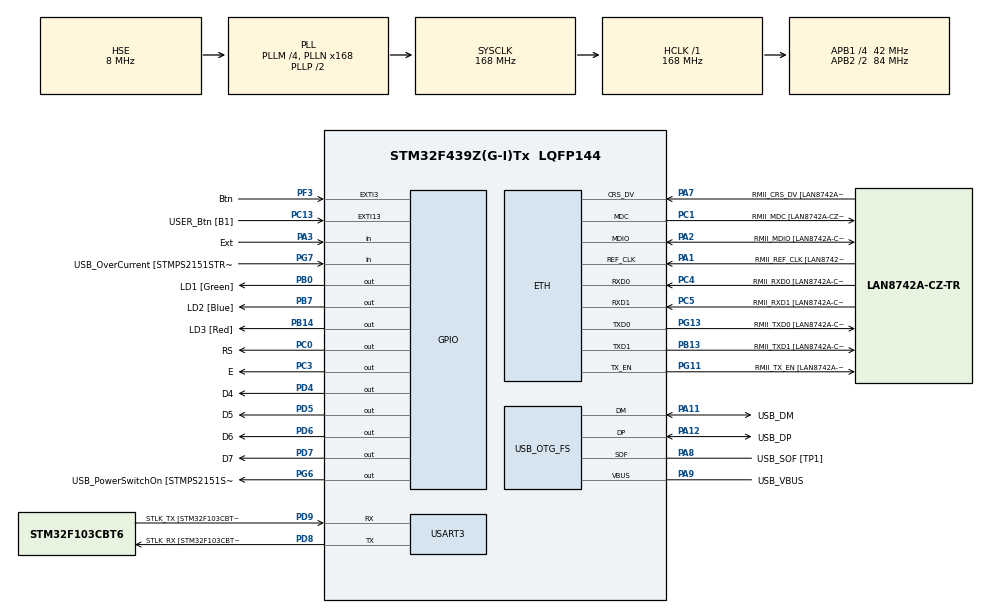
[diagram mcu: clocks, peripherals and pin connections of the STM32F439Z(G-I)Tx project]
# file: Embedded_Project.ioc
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ETH.MediaInterface=HAL_ETH_RMII_MODE
ETH.PHY_Name=LAN8742A_PHY_ADDRESS
ETH.PHY_Value=0
ETH.PhyAddress=0
Mcu.Family=STM32F4
Mcu.Name=STM32F439Z(G-I)Tx
Mcu.Package=LQFP144
NVIC.EXTI15_10_IRQn=true\:0\:0\:false\:false\:true\:true\:true\:true
NVIC.EXTI3_IRQn=true\:0\:0\:false\:false\:true\:true\:true\:true
NVIC.PriorityGroup=NVIC_PRIORITYGROUP_4
PA1.GPIO_Label=RMII_REF_CLK [LAN8742A-CZ-TR_REFCLK0]
PA1.Mode=RMII
PA1.Signal=ETH_REF_CLK
PA10.GPIO_Label=USB_ID
PA10.Signal=USB_OTG_FS_ID
PA11.GPIO_Label=USB_DM
PA11.Mode=Device_Only
PA11.Signal=USB_OTG_FS_DM
PA12.GPIO_Label=USB_DP
PA12.Mode=Device_Only
PA12.Signal=USB_OTG_FS_DP
PA13.GPIO_Label=TMS
PA13.Mode=Serial_Wire
PA13.Signal=SYS_JTMS-SWDIO
PA14.GPIO_Label=TCK
PA14.Mode=Serial_Wire
PA14.Signal=SYS_JTCK-SWCLK
PA2.GPIO_Label=RMII_MDIO [LAN8742A-CZ-TR_MDIO]
PA2.Mode=RMII
PA2.Signal=ETH_MDIO
PA3.GPIO_Label=Ext
PA3.Signal=GPIO_Input
PA7.GPIO_Label=RMII_CRS_DV [LAN8742A-CZ-TR_CRS_DV]
PA7.Mode=RMII
PA7.Signal=ETH_CRS_DV
PA8.GPIO_Label=USB_SOF [TP1]
PA8.Mode=Activate_SOF_FS
PA8.Signal=USB_OTG_FS_SOF
PA9.GPIO_Label=USB_VBUS
PA9.Mode=Activate_VBUS
PA9.Signal=USB_OTG_FS_VBUS
PB0.GPIO_Label=LD1 [Green]
PB0.Signal=GPIO_Output
PB13.GPIO_Label=RMII_TXD1 [LAN8742A-CZ-TR_TXD1]
PB13.Mode=RMII
PB13.Signal=ETH_TXD1
PB14.GPIO_Label=LD3 [Red]
PB14.Signal=GPIO_Output
PB7.GPIO_Label=LD2 [Blue]
PB7.Signal=GPIO_Output
PC0.GPIO_Label=RS
PC0.Signal=GPIO_Output
PC1.GPIO_Label=RMII_MDC [LAN8742A-CZ-TR_MDC]
PC1.Mode=RMII
PC1.Signal=ETH_MDC
PC13.GPIO_Label=USER_Btn [B1]
PC13.GPIO_ModeDefaultEXTI=GPIO_MODE_IT_RISING_FALLING
PC13.Signal=GPXTI13
PC14/OSC32_IN.Mode=LSE-External-Oscillator
PC14/OSC32_IN.Signal=RCC_OSC32_IN
PC15/OSC32_OUT.Mode=LSE-External-Oscillator
PC15/OSC32_OUT.Signal=RCC_OSC32_OUT
PC3.GPIO_Label=E
PC3.Signal=GPIO_Output
PC4.GPIO_Label=RMII_RXD0 [LAN8742A-CZ-TR_RXD0]
PC4.Mode=RMII
PC4.Signal=ETH_RXD0
PC5.GPIO_Label=RMII_RXD1 [LAN8742A-CZ-TR_RXD1]
PC5.Mode=RMII
PC5.Signal=ETH_RXD1
PD4.GPIO_Label=D4
PD4.Signal=GPIO_Output
PD5.GPIO_Label=D5
PD5.Signal=GPIO_Output
PD6.GPIO_Label=D6
PD6.Signal=GPIO_Output
PD7.GPIO_Label=D7
PD7.Signal=GPIO_Output
PD8.GPIO_Label=STLK_RX [STM32F103CBT6_PA3]
PD8.Mode=Asynchronous
PD8.Signal=USART3_TX
PD9.GPIO_Label=STLK_TX [STM32F103CBT6_PA2]
PD9.Mode=Asynchronous
PD9.Signal=USART3_RX
PF3.GPIO_Label=Btn
PF3.GPIO_ModeDefaultEXTI=GPIO_MODE_IT_RISING_FALLING
PF3.Signal=GPXTI3
PG11.GPIO_Label=RMII_TX_EN [LAN8742A-CZ-TR_TXEN]
PG11.Mode=RMII
PG11.Signal=ETH_TX_EN
PG13.GPIO_Label=RMII_TXD0 [LAN8742A-CZ-TR_TXD0]
PG13.Mode=RMII
PG13.Signal=ETH_TXD0
PG6.GPIO_Label=USB_PowerSwitchOn [STMPS2151STR_EN]
PG6.Signal=GPIO_Output
PG7.GPIO_Label=USB_OverCurrent [STMPS2151STR_FAULT]
PG7.Signal=GPIO_Input
PH0/OSC_IN.GPIO_Label=MCO [STM32F103CBT6_PA8]
PH0/OSC_IN.Mode=HSE-External-Clock-Source
PH0/OSC_IN.Signal=RCC_OSC_IN
PH1/OSC_OUT.Mode=HSE-External-Clock-Source
PH1/OSC_OUT.Signal=RCC_OSC_OUT
ProjectManager.HeapSize=0x200
ProjectManager.StackSize=0x400
ProjectManager.TargetToolchain=STM32CubeIDE
RCC.48MHZClocksFreq_Value=48000000
RCC.AHBFreq_Value=168000000
RCC.APB1CLKDivider=RCC_HCLK_DIV4
RCC.APB1Freq_Value=42000000
RCC.APB1TimFreq_Value=84000000
RCC.APB2CLKDivider=RCC_HCLK_DIV2
RCC.APB2Freq_Value=84000000
RCC.APB2TimCLKDivider=2
RCC.APB2TimFreq_Value=168000000
RCC.CortexFreq_Value=168000000
RCC.HCLKFreq_Value=168000000
RCC.HSE_VALUE=8000000
RCC.HSI_VALUE=16000000
RCC.PLLM=4
RCC.PLLMUL=RCC_PLL_MUL9
RCC.PLLN=168
RCC.PLLQ=7
RCC.PRESCALERUSB=RCC_USBCLKSOURCE_PLL_DIV1_5
RCC.SYSCLKFreq_VALUE=168000000
RCC.SYSCLKSource=RCC_SYSCLKSOURCE_PLLCLK
RCC.SYSCLKSourceVirtual=RCC_SYSCLKSOURCE_PLLCLK
RCC.USBFreq_Value=48000000
RCC.VCOOutputFreq_Value=336000000
USART3.VirtualMode=VM_ASYNC
USB_OTG_FS.VirtualMode=Device_Only
board=NUCLEO-F439ZI

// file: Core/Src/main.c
/* USER CODE BEGIN Header */
/**
  ******************************************************************************
  * @file           : main.c
  * @brief          : Main program body
  ******************************************************************************
  * @attention
  *
  * Copyright (c) 2024 STMicroelectronics.
  * All rights reserved.
  *
  * This software is licensed under terms that can be found in the LICENSE file
  * in the root directory of this software component.
  * If no LICENSE file comes with this software, it is provided AS-IS.
  *
  ******************************************************************************
  */
/* USER CODE END Header */
#include "main.h"
#include "string.h"

/* USER CODE BEGIN Includes */
#include "lcd16x2.h"
/* USER CODE END Includes */

ETH_TxPacketConfig TxConfig;
ETH_DMADescTypeDef  DMARxDscrTab[ETH_RX_DESC_CNT]; /* Ethernet Rx DMA Descriptors */
ETH_DMADescTypeDef  DMATxDscrTab[ETH_TX_DESC_CNT]; /* Ethernet Tx DMA Descriptors */

ETH_HandleTypeDef heth;

UART_HandleTypeDef huart3;

PCD_HandleTypeDef hpcd_USB_OTG_FS;

void SystemClock_Config(void);
static void MX_GPIO_Init(void);
static void MX_ETH_Init(void);
static void MX_USART3_UART_Init(void);
static void MX_USB_OTG_FS_PCD_Init(void);
/* USER CODE BEGIN PFP */
int password[4] = {1,1,0,0};
int j = 0;
int state = 0;
int reset_pass = 0;
//int user_inp = 0;
//int user_password[8]={};
//int j=0;
char user_pass_str[1024]= "Password:";
char user_pass_str1[1024]= "New_Pass:";
int cur_time = 0;
int start_time=0;
//int cur_time1=0;
//int start_time1=0;
/* USER CODE END PFP */

/* USER CODE BEGIN 0 */
void HAL_GPIO_EXTI_Callback(uint16_t GPIO_Pin)
{
  /* Prevent unused argument(s) compilation warning */

  /* NOTE: This function Should not be modified, when the callback is needed,
           the HAL_GPIO_EXTI_Callback could be implemented in the user file
   */
//
//	if(GPIO_Pin==USER_Btn_Pin){
//		cur_time = HAL_GetTick();
//		int User_state = HAL_GPIO_ReadPin(USER_Btn_GPIO_Port,USER_Btn_Pin);
//		if(User_state==0){
//			if(cur_time-start_time >= 3000){
//					i=0;
//			}
//		    else if(cur_time-start_time >= 100){
//				if(password[j]==1){
//					j++;
//					user_pass_str=user_pass_str+'1';
//
//				}
//				else{
//					j=0;
//					user_pass_str="";
//				}
//
//			}
//		}
//		else {
//			start_time = cur_time;
//		}
//	}
//	else{
//		cur_time1 = HAL_GetTick();
//		int next_btn = HAL_GPIO_ReadPin(Btn_GPIO_Port, Btn_Pin);
//		if(next_btn==0) {
//			if(cur_time1-start_time1 >= 3000){
//
//			}
//			else if(cur_time1-start_time1 >= 100){
//				user_inp=0;
//			}
//		 }
//		else{
//			start_time1 = cur_time1;
//		}
//	}
//	return;

	cur_time = HAL_GetTick();
	int User_state = HAL_GPIO_ReadPin(USER_Btn_GPIO_Port,USER_Btn_Pin);
	int Ext_state = HAL_GPIO_ReadPin(Btn_GPIO_Port,Btn_Pin);

	if(GPIO_Pin==USER_Btn_Pin){
		HAL_GPIO_WritePin(GPIOB, LD1_Pin|LD3_Pin|LD2_Pin, User_state);
		if(User_state==0){
			if(cur_time-start_time>3000){
					state = 2;

				}
			else if(cur_time-start_time>100 && state ==2){
				int len = 0;
				if(password[j]==1){
					j++;
					len = strlen(user_pass_str);
					user_pass_str[len]='1';
					user_pass_str[len+1] = '\0';
					if(j==4){
						state=1;
						user_pass_str[len-j+1]='\0';
						j=0;
					}
				}
				else{
					len = strlen(user_pass_str);
					user_pass_str[len-j]='\0';
					state=0;
					j=0;
				}

			}

			}
			else{
				start_time = cur_time;
			}
		}
	else{
		if(Ext_state==0 ){
			if(User_state==0){
			if(cur_time-start_time>100 && state ==2){
				int len = 0;
				if(password[j]==0){
						j++;
						len = strlen(user_pass_str);
						user_pass_str[len]='0';
						user_pass_str[len+1] = '\0';
						if(j==4){
							state=1;
							user_pass_str[len-j+1]='\0';
							j=0;
						}
					}else{
						len = strlen(user_pass_str);
						user_pass_str[len-j]='\0';
						state=0;
						j=0;
					}
			}
				}
		}
			else{
				start_time = cur_time;
			}

	}

}

/* USER CODE END 0 */

int main(void)
{

  /* MCU Configuration--------------------------------------------------------*/

  /* Reset of all peripherals, Initializes the Flash interface and the Systick. */
  HAL_Init();

  /* Configure the system clock */
  SystemClock_Config();

  /* Initialize all configured peripherals */
  MX_GPIO_Init();
  MX_ETH_Init();
  MX_USART3_UART_Init();
  MX_USB_OTG_FS_PCD_Init();
  /* USER CODE BEGIN 2 */
  lcd16x2_init_4bits(GPIOC, RS_Pin, E_Pin,
		  GPIOD, D4_Pin, D5_Pin, D6_Pin, D7_Pin);
  int i = 0;
  /* USER CODE END 2 */

  /* Infinite loop */
  while (1)
  {
	  i = HAL_GPIO_ReadPin(Ext_GPIO_Port, Ext_Pin);
	  if(i!=0){
		  state=1;
		  i=0;
	  }
	  if(state==1){
		  lcd16x2_setCursor(0,0);
		  lcd16x2_clear();
		  lcd16x2_printf("Approved!!");
		  HAL_Delay(5000);
		  j=0;
		  state=0;

	  }else if(state==0){
		  lcd16x2_setCursor(0,0);
		  lcd16x2_clear();
		  lcd16x2_printf("Access Denied");
		  HAL_Delay(500);
//		  i = HAL_GPIO_ReadPin(Ext_GPIO_Port, Ext_Pin);
//		  if(i!=0){
//			  lcd16x2_printf("Approved!!");
//			  HAL_Delay(5000);
//			  i=0;
		  }
	  else if(state==2){
		  lcd16x2_setCursor(0,0);
		  lcd16x2_clear();
		  lcd16x2_printf(user_pass_str);
		  HAL_Delay(100);
	  }
	  }

  }

void SystemClock_Config(void)
{
  RCC_OscInitTypeDef RCC_OscInitStruct = {0};
  RCC_ClkInitTypeDef RCC_ClkInitStruct = {0};

  /** Configure the main internal regulator output voltage
  */
  __HAL_RCC_PWR_CLK_ENABLE();
  __HAL_PWR_VOLTAGESCALING_CONFIG(PWR_REGULATOR_VOLTAGE_SCALE1);

  /** Initializes the RCC Oscillators according to the specified parameters
  * in the RCC_OscInitTypeDef structure.
  */
  RCC_OscInitStruct.OscillatorType = RCC_OSCILLATORTYPE_HSE;
  RCC_OscInitStruct.HSEState = RCC_HSE_BYPASS;
  RCC_OscInitStruct.PLL.PLLState = RCC_PLL_ON;
  RCC_OscInitStruct.PLL.PLLSource = RCC_PLLSOURCE_HSE;
  RCC_OscInitStruct.PLL.PLLM = 4;
  RCC_OscInitStruct.PLL.PLLN = 168;
  RCC_OscInitStruct.PLL.PLLP = RCC_PLLP_DIV2;
  RCC_OscInitStruct.PLL.PLLQ = 7;
  if (HAL_RCC_OscConfig(&RCC_OscInitStruct) != HAL_OK)
  {
    Error_Handler();
  }

  /** Initializes the CPU, AHB and APB buses clocks
  */
  RCC_ClkInitStruct.ClockType = RCC_CLOCKTYPE_HCLK|RCC_CLOCKTYPE_SYSCLK
                              |RCC_CLOCKTYPE_PCLK1|RCC_CLOCKTYPE_PCLK2;
  RCC_ClkInitStruct.SYSCLKSource = RCC_SYSCLKSOURCE_PLLCLK;
  RCC_ClkInitStruct.AHBCLKDivider = RCC_SYSCLK_DIV1;
  RCC_ClkInitStruct.APB1CLKDivider = RCC_HCLK_DIV4;
  RCC_ClkInitStruct.APB2CLKDivider = RCC_HCLK_DIV2;

  if (HAL_RCC_ClockConfig(&RCC_ClkInitStruct, FLASH_LATENCY_5) != HAL_OK)
  {
    Error_Handler();
  }
}

static void MX_ETH_Init(void)
{

   static uint8_t MACAddr[6];

  heth.Instance = ETH;
  MACAddr[0] = 0x00;
  MACAddr[1] = 0x80;
  MACAddr[2] = 0xE1;
  MACAddr[3] = 0x00;
  MACAddr[4] = 0x00;
  MACAddr[5] = 0x00;
  heth.Init.MACAddr = &MACAddr[0];
  heth.Init.MediaInterface = HAL_ETH_RMII_MODE;
  heth.Init.TxDesc = DMATxDscrTab;
  heth.Init.RxDesc = DMARxDscrTab;
  heth.Init.RxBuffLen = 1524;

  if (HAL_ETH_Init(&heth) != HAL_OK)
  {
    Error_Handler();
  }

  memset(&TxConfig, 0 , sizeof(ETH_TxPacketConfig));
  TxConfig.Attributes = ETH_TX_PACKETS_FEATURES_CSUM | ETH_TX_PACKETS_FEATURES_CRCPAD;
  TxConfig.ChecksumCtrl = ETH_CHECKSUM_IPHDR_PAYLOAD_INSERT_PHDR_CALC;
  TxConfig.CRCPadCtrl = ETH_CRC_PAD_INSERT;

}

static void MX_USART3_UART_Init(void)
{

  huart3.Instance = USART3;
  huart3.Init.BaudRate = 115200;
  huart3.Init.WordLength = UART_WORDLENGTH_8B;
  huart3.Init.StopBits = UART_STOPBITS_1;
  huart3.Init.Parity = UART_PARITY_NONE;
  huart3.Init.Mode = UART_MODE_TX_RX;
  huart3.Init.HwFlowCtl = UART_HWCONTROL_NONE;
  huart3.Init.OverSampling = UART_OVERSAMPLING_16;
  if (HAL_UART_Init(&huart3) != HAL_OK)
  {
    Error_Handler();
  }

}

static void MX_USB_OTG_FS_PCD_Init(void)
{

  hpcd_USB_OTG_FS.Instance = USB_OTG_FS;
  hpcd_USB_OTG_FS.Init.dev_endpoints = 4;
  hpcd_USB_OTG_FS.Init.speed = PCD_SPEED_FULL;
  hpcd_USB_OTG_FS.Init.dma_enable = DISABLE;
  hpcd_USB_OTG_FS.Init.phy_itface = PCD_PHY_EMBEDDED;
  hpcd_USB_OTG_FS.Init.Sof_enable = ENABLE;
  hpcd_USB_OTG_FS.Init.low_power_enable = DISABLE;
  hpcd_USB_OTG_FS.Init.lpm_enable = DISABLE;
  hpcd_USB_OTG_FS.Init.vbus_sensing_enable = ENABLE;
  hpcd_USB_OTG_FS.Init.use_dedicated_ep1 = DISABLE;
  if (HAL_PCD_Init(&hpcd_USB_OTG_FS) != HAL_OK)
  {
    Error_Handler();
  }

}

static void MX_GPIO_Init(void)
{
  GPIO_InitTypeDef GPIO_InitStruct = {0};

  /* GPIO Ports Clock Enable */
  __HAL_RCC_GPIOC_CLK_ENABLE();
  __HAL_RCC_GPIOF_CLK_ENABLE();
  __HAL_RCC_GPIOH_CLK_ENABLE();
  __HAL_RCC_GPIOA_CLK_ENABLE();
  __HAL_RCC_GPIOB_CLK_ENABLE();
  __HAL_RCC_GPIOD_CLK_ENABLE();
  __HAL_RCC_GPIOG_CLK_ENABLE();

  /*Configure GPIO pin Output Level */
  HAL_GPIO_WritePin(GPIOC, RS_Pin|E_Pin, GPIO_PIN_RESET);

  /*Configure GPIO pin Output Level */
  HAL_GPIO_WritePin(GPIOB, LD1_Pin|LD3_Pin|LD2_Pin, GPIO_PIN_RESET);

  /*Configure GPIO pin Output Level */
  HAL_GPIO_WritePin(USB_PowerSwitchOn_GPIO_Port, USB_PowerSwitchOn_Pin, GPIO_PIN_RESET);

  /*Configure GPIO pin Output Level */
  HAL_GPIO_WritePin(GPIOD, D4_Pin|D5_Pin|D6_Pin|D7_Pin, GPIO_PIN_RESET);

  /*Configure GPIO pin : USER_Btn_Pin */
  GPIO_InitStruct.Pin = USER_Btn_Pin;
  GPIO_InitStruct.Mode = GPIO_MODE_IT_RISING_FALLING;
  GPIO_InitStruct.Pull = GPIO_NOPULL;
  HAL_GPIO_Init(USER_Btn_GPIO_Port, &GPIO_InitStruct);

  /*Configure GPIO pin : Btn_Pin */
  GPIO_InitStruct.Pin = Btn_Pin;
  GPIO_InitStruct.Mode = GPIO_MODE_IT_RISING_FALLING;
  GPIO_InitStruct.Pull = GPIO_NOPULL;
  HAL_GPIO_Init(Btn_GPIO_Port, &GPIO_InitStruct);

  /*Configure GPIO pins : RS_Pin E_Pin */
  GPIO_InitStruct.Pin = RS_Pin|E_Pin;
  GPIO_InitStruct.Mode = GPIO_MODE_OUTPUT_PP;
  GPIO_InitStruct.Pull = GPIO_NOPULL;
  GPIO_InitStruct.Speed = GPIO_SPEED_FREQ_LOW;
  HAL_GPIO_Init(GPIOC, &GPIO_InitStruct);

  /*Configure GPIO pin : Ext_Pin */
  GPIO_InitStruct.Pin = Ext_Pin;
  GPIO_InitStruct.Mode = GPIO_MODE_INPUT;
  GPIO_InitStruct.Pull = GPIO_PULLDOWN;
  HAL_GPIO_Init(Ext_GPIO_Port, &GPIO_InitStruct);

  /*Configure GPIO pins : LD1_Pin LD3_Pin LD2_Pin */
  GPIO_InitStruct.Pin = LD1_Pin|LD3_Pin|LD2_Pin;
  GPIO_InitStruct.Mode = GPIO_MODE_OUTPUT_PP;
  GPIO_InitStruct.Pull = GPIO_NOPULL;
  GPIO_InitStruct.Speed = GPIO_SPEED_FREQ_LOW;
  HAL_GPIO_Init(GPIOB, &GPIO_InitStruct);

  /*Configure GPIO pin : USB_PowerSwitchOn_Pin */
  GPIO_InitStruct.Pin = USB_PowerSwitchOn_Pin;
  GPIO_InitStruct.Mode = GPIO_MODE_OUTPUT_PP;
  GPIO_InitStruct.Pull = GPIO_NOPULL;
  GPIO_InitStruct.Speed = GPIO_SPEED_FREQ_LOW;
  HAL_GPIO_Init(USB_PowerSwitchOn_GPIO_Port, &GPIO_InitStruct);

  /*Configure GPIO pin : USB_OverCurrent_Pin */
  GPIO_InitStruct.Pin = USB_OverCurrent_Pin;
  GPIO_InitStruct.Mode = GPIO_MODE_INPUT;
  GPIO_InitStruct.Pull = GPIO_NOPULL;
  HAL_GPIO_Init(USB_OverCurrent_GPIO_Port, &GPIO_InitStruct);

  /*Configure GPIO pins : D4_Pin D5_Pin D6_Pin D7_Pin */
  GPIO_InitStruct.Pin = D4_Pin|D5_Pin|D6_Pin|D7_Pin;
  GPIO_InitStruct.Mode = GPIO_MODE_OUTPUT_PP;
  GPIO_InitStruct.Pull = GPIO_NOPULL;
  GPIO_InitStruct.Speed = GPIO_SPEED_FREQ_LOW;
  HAL_GPIO_Init(GPIOD, &GPIO_InitStruct);

  /* EXTI interrupt init*/
  HAL_NVIC_SetPriority(EXTI3_IRQn, 0, 0);
  HAL_NVIC_EnableIRQ(EXTI3_IRQn);

  HAL_NVIC_SetPriority(EXTI15_10_IRQn, 0, 0);
  HAL_NVIC_EnableIRQ(EXTI15_10_IRQn);

}

void Error_Handler(void)
{
  __disable_irq();
  while (1)
  {
  }
}
